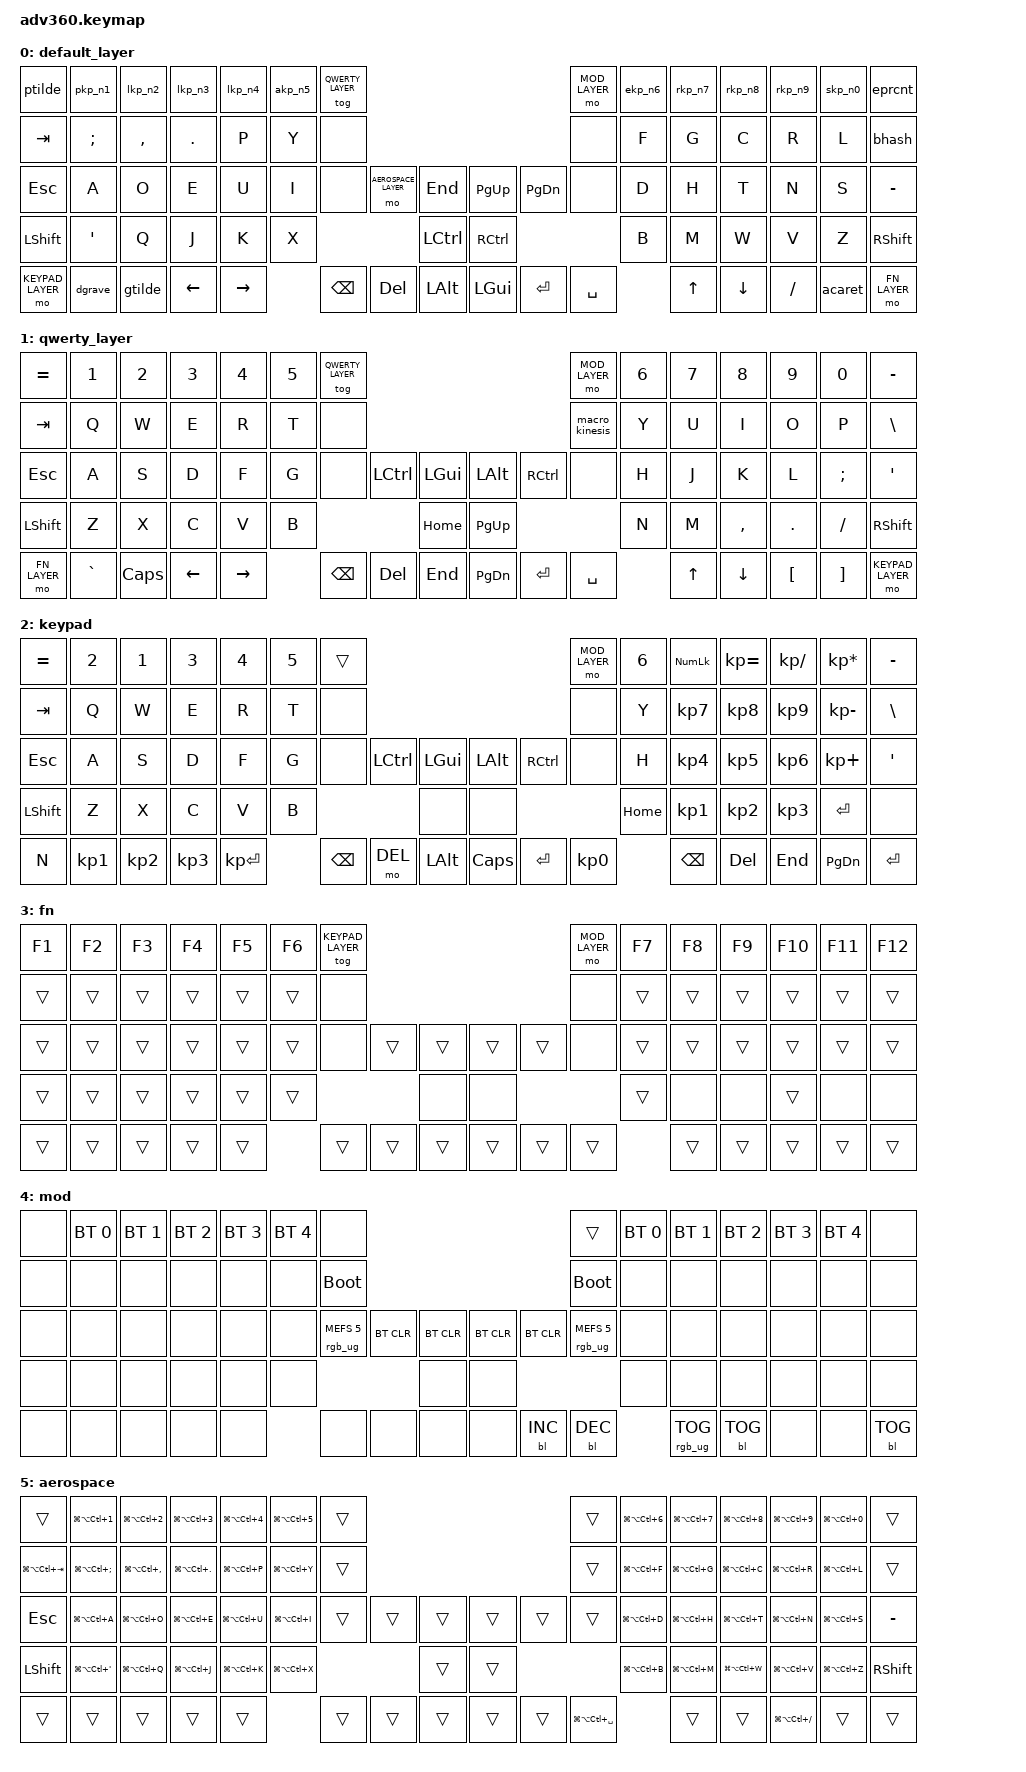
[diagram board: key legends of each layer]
#include <behaviors.dtsi>
#include <dt-bindings/zmk/backlight.h>
#include <dt-bindings/zmk/bt.h>
#include <dt-bindings/zmk/keys.h>
#include <dt-bindings/zmk/rgb.h>

#define DEFAULT_LAYER 0
#define QWERTY_LAYER 1
#define KEYPAD_LAYER 2
#define FN_LAYER 3
#define MOD_LAYER 4
#define AEROSPACE_LAYER 5

/ {
    behaviors {
        #include "macros.dtsi"

        hm: homerow_mods {
            compatible = "zmk,behavior-hold-tap";
            label = "HOMEROW_MODS";
            #binding-cells = <2>;
            tapping-term-ms = <250>;
            quick_tap_ms = <200>;
            flavor = "tap-preferred";
            bindings = <&kp>, <&kp>;
        };

        gpipe: grave_pipe {
            compatible = "zmk,behavior-mod-morph";
            label = "grave_pipe";
            #binding-cells = <0>;
            bindings = <&kp GRAVE>, <&kp PIPE>;

            mods = <(MOD_LSFT|MOD_RSFT)>;
        };


        ptilde: pipe_tilde {
            compatible = "zmk,behavior-mod-morph";
            label = "pipe_tilde";
            #binding-cells = <0>;
            bindings = <&kp PIPE>, <&kp TILDE>;

            mods = <(MOD_LSFT|MOD_RSFT)>;
        };

        ppipe: pipe_pipe {
            compatible = "zmk,behavior-mod-morph";
            label = "pipe_pipe";
            #binding-cells = <0>;
            bindings = <&kp PIPE>, <&kp PIPE>;

            mods = <(MOD_LSFT|MOD_RSFT)>;
        };

        pkp_n1: plus_kp_n1 {
            compatible = "zmk,behavior-mod-morph";
            label = "plus_kp_n1";
            #binding-cells = <0>;
            bindings = <&kp PLUS>, <&kp KP_N1>;

            mods = <(MOD_LSFT|MOD_RSFT)>;
        };

        lkp_n2: left_bracket_kp_n2 {
            compatible = "zmk,behavior-mod-morph";
            label = "left_bracket_kp_n2";
            #binding-cells = <0>;
            bindings = <&kp LEFT_BRACKET>, <&kp KP_N2>;

            mods = <(MOD_LSFT|MOD_RSFT)>;
        };

        lkp_n3: left_brace_kp_n3 {
            compatible = "zmk,behavior-mod-morph";
            label = "left_brace_kp_n3";
            #binding-cells = <0>;
            bindings = <&kp LEFT_BRACE>, <&kp KP_N3>;

            mods = <(MOD_LSFT|MOD_RSFT)>;
        };

        lkp_n4: left_parenthesis_kp_n4 {
            compatible = "zmk,behavior-mod-morph";
            label = "left_parenthesis_kp_n4";
            #binding-cells = <0>;
            bindings = <&kp LEFT_PARENTHESIS>, <&kp KP_N4>;

            mods = <(MOD_LSFT|MOD_RSFT)>;
        };

        akp_n5: amps_kp_n5 {
            compatible = "zmk,behavior-mod-morph";
            label = "amps_kp_n5";
            #binding-cells = <0>;
            bindings = <&kp AMPS>, <&kp KP_N5>;

            mods = <(MOD_LSFT|MOD_RSFT)>;
        };

        ekp_n6: equal_kp_n6 {
            compatible = "zmk,behavior-mod-morph";
            label = "equal_kp_n6";
            #binding-cells = <0>;
            bindings = <&kp EQUAL>, <&kp KP_N6>;

            mods = <(MOD_LSFT|MOD_RSFT)>;
        };

        rkp_n7: right_parenthesis_kp_n7 {
            compatible = "zmk,behavior-mod-morph";
            label = "right_parenthesis_kp_n7";
            #binding-cells = <0>;
            bindings = <&kp RIGHT_PARENTHESIS>, <&kp KP_N7>;

            mods = <(MOD_LSFT|MOD_RSFT)>;
        };

        rkp_n8: right_brace_kp_n8 {
            compatible = "zmk,behavior-mod-morph";
            label = "right_brace_kp_n8";
            #binding-cells = <0>;
            bindings = <&kp RIGHT_BRACE>, <&kp KP_N8>;

            mods = <(MOD_LSFT|MOD_RSFT)>;
        };

        rkp_n9: right_bracket_kp_n9 {
            compatible = "zmk,behavior-mod-morph";
            label = "right_bracket_kp_n9";
            #binding-cells = <0>;
            bindings = <&kp RIGHT_BRACKET>, <&kp KP_N9>;

            mods = <(MOD_LSFT|MOD_RSFT)>;
        };

        skp_n0: star_kp_n0 {
            compatible = "zmk,behavior-mod-morph";
            label = "star_kp_n0";
            #binding-cells = <0>;
            bindings = <&kp STAR>, <&kp KP_N0>;

            mods = <(MOD_LSFT|MOD_RSFT)>;
        };

        eprcnt: excl_prcnt {
            compatible = "zmk,behavior-mod-morph";
            label = "excl_prcnt";
            #binding-cells = <0>;
            bindings = <&kp EXCL>, <&kp PRCNT>;

            mods = <(MOD_LSFT|MOD_RSFT)>;
        };

        dgrave: dllr_grave {
            compatible = "zmk,behavior-mod-morph";
            label = "dllr_grave";
            #binding-cells = <0>;
            bindings = <&kp DLLR>, <&kp GRAVE>;

            mods = <(MOD_LSFT|MOD_RSFT)>;
        };

        ggrave: grave_grave {
            compatible = "zmk,behavior-mod-morph";
            label = "grave_grave";
            #binding-cells = <0>;
            bindings = <&kp GRAVE>, <&kp GRAVE>;

            mods = <(MOD_LSFT|MOD_RSFT)>;
        };

        gtilde: grave_tilde {
            compatible = "zmk,behavior-mod-morph";
            label = "grave_tilde";
            #binding-cells = <0>;
            bindings = <&kp GRAVE>, <&kp TILDE>;
            mods = <(MOD_LSFT|MOD_RSFT)>;
        };

        bhash: bslh_hash {
            compatible = "zmk,behavior-mod-morph";
            label = "bslh_hash";
            #binding-cells = <0>;
            bindings = <&kp BSLH>, <&kp HASH>;

            mods = <(MOD_LSFT|MOD_RSFT)>;
        };

        acaret: at_caret {
            compatible = "zmk,behavior-mod-morph";
            label = "at_caret";
            #binding-cells = <0>;
            bindings = <&kp AT>, <&kp CARET>;

            mods = <(MOD_LSFT|MOD_RSFT)>;
        };
    };

    keymap {
        compatible = "zmk,keymap";

        default_layer {
            bindings = <
//    ┌───────────────────┬─────────┬─────────┬─────────┬─────────┬─────────┬────────────────────┐                                         ┌────────────────┬─────────┬─────────┬─────────┬─────────┬─────────┬───────────────┐
//    │      &ptilde      │ &pkp_n1 │ &lkp_n2 │ &lkp_n3 │ &lkp_n4 │ &akp_n5 │ TOG QWERTY_laltYER │                                         │ MO MOD_laltYER │ &ekp_n6 │ &rkp_n7 │ &rkp_n8 │ &rkp_n9 │ &skp_n0 │    &eprcnt    │
//    ├───────────────────┼─────────┼─────────┼─────────┼─────────┼─────────┼────────────────────┤                                         ├────────────────┼─────────┼─────────┼─────────┼─────────┼─────────┼───────────────┤
//    │        tab        │    ;    │    ,    │    .    │    P    │    Y    │                    │                                         │                │    F    │    G    │    C    │    R    │    L    │    &bhash     │
//    ├───────────────────┼─────────┼─────────┼─────────┼─────────┼─────────┼────────────────────┼────────────────────┬──────┬──────┬──────┼────────────────┼─────────┼─────────┼─────────┼─────────┼─────────┼───────────────┤
//    │        esc        │    A    │    O    │    E    │    U    │    I    │                    │ MO AEROspc_laltYER │ end  │ pgup │ pgdn │                │    D    │    H    │    T    │    N    │    S    │       -       │
//    ├───────────────────┼─────────┼─────────┼─────────┼─────────┼─────────┼────────────────────┴────────────────────┼──────┼──────┼──────┴────────────────┼─────────┼─────────┼─────────┼─────────┼─────────┼───────────────┤
//    │       lsft        │    '    │    Q    │    J    │    K    │    X    │                                         │ lctl │ rctl │                       │    B    │    M    │    W    │    V    │    Z    │     rsft      │
//    ├───────────────────┼─────────┼─────────┼─────────┼─────────┼─────────┼────────────────────┬────────────────────┼──────┼──────┼──────┬────────────────┼─────────┼─────────┼─────────┼─────────┼─────────┼───────────────┤
//    │ MO KEYPAD_laltYER │ &dgrave │ &gtilde │  left   │  rght   │         │        BKSP        │        del         │ lalt │ lgui │ ent  │      spc       │         │   up    │  down   │    /    │ &acaret │ MO FN_laltYER │
//    └───────────────────┴─────────┴─────────┴─────────┴─────────┘         └────────────────────┴────────────────────┴──────┴──────┴──────┴────────────────┘         └─────────┴─────────┴─────────┴─────────┴───────────────┘
  &ptilde            &pkp_n1    &lkp_n2     &lkp_n3    &lkp_n4     &akp_n5   &tog QWERTY_LAYER                                                             &mo MOD_LAYER   &ekp_n6   &rkp_n7   &rkp_n8    &rkp_n9    &skp_n0   &eprcnt
  &kp TAB            &kp SEMI   &kp COMMA   &kp DOT    &kp P       &kp Y     &none                                                                         &none           &kp F     &kp G     &kp C      &kp R      &kp L     &bhash
  &kp ESC            &kp A      &kp O       &kp E      &kp U       &kp I     &none               &mo AEROSPACE_LAYER   &kp END     &kp PG_UP   &kp PG_DN   &none           &kp D     &kp H     &kp T      &kp N      &kp S     &kp MINUS
  &kp LSHFT          &kp APOS   &kp Q       &kp J      &kp K       &kp X                                               &kp LCTRL   &kp RCTRL                               &kp B     &kp M     &kp W      &kp V      &kp Z     &kp RSHFT
  &mo KEYPAD_LAYER   &dgrave    &gtilde     &kp LEFT   &kp RIGHT             &kp BKSP            &kp DEL               &kp LALT    &kp LGUI    &kp ENTER   &kp SPACE                 &kp UP    &kp DOWN   &kp FSLH   &acaret   &mo FN_LAYER
            >;
        };

        qwerty_layer {
            bindings = <
//    ┌───────────────┬───┬──────┬──────┬──────┬───┬────────────────────┐                           ┌────────────────┬───┬────┬──────┬───┬───┬───────────────────┐
//    │       =       │ 1 │  2   │  3   │  4   │ 5 │ TOG QWERTY_laltYER │                           │ MO MOD_laltYER │ 6 │ 7  │  8   │ 9 │ 0 │         -         │
//    ├───────────────┼───┼──────┼──────┼──────┼───┼────────────────────┤                           ├────────────────┼───┼────┼──────┼───┼───┼───────────────────┤
//    │      tab      │ Q │  W   │  E   │  R   │ T │                    │                           │ &macro_kinesis │ Y │ U  │  I   │ O │ P │         \         │
//    ├───────────────┼───┼──────┼──────┼──────┼───┼────────────────────┼──────┬──────┬──────┬──────┼────────────────┼───┼────┼──────┼───┼───┼───────────────────┤
//    │      esc      │ A │  S   │  D   │  F   │ G │                    │ lctl │ lgui │ lalt │ rctl │                │ H │ J  │  K   │ L │ ; │         '         │
//    ├───────────────┼───┼──────┼──────┼──────┼───┼────────────────────┴──────┼──────┼──────┼──────┴────────────────┼───┼────┼──────┼───┼───┼───────────────────┤
//    │     lsft      │ Z │  X   │  C   │  V   │ B │                           │ home │ pgup │                       │ N │ M  │  ,   │ . │ / │       rsft        │
//    ├───────────────┼───┼──────┼──────┼──────┼───┼────────────────────┬──────┼──────┼──────┼──────┬────────────────┼───┼────┼──────┼───┼───┼───────────────────┤
//    │ MO FN_laltYER │ ` │ caps │ left │ rght │   │        BKSP        │ del  │ end  │ pgdn │ ent  │      spc       │   │ up │ down │ [ │ ] │ MO KEYPAD_laltYER │
//    └───────────────┴───┴──────┴──────┴──────┘   └────────────────────┴──────┴──────┴──────┴──────┴────────────────┘   └────┴──────┴───┴───┴───────────────────┘
  &kp EQUAL      &kp N1      &kp N2     &kp N3     &kp N4      &kp N5   &tog QWERTY_LAYER                                                         &mo MOD_LAYER    &kp N6   &kp N7   &kp N8      &kp N9     &kp N0     &kp MINUS
  &kp TAB        &kp Q       &kp W      &kp E      &kp R       &kp T    &none                                                                     &macro_kinesis   &kp Y    &kp U    &kp I       &kp O      &kp P      &kp BSLH
  &kp ESC        &kp A       &kp S      &kp D      &kp F       &kp G    &none               &kp LCTRL   &kp LEFT_GUI   &kp LEFT_ALT   &kp RCTRL   &none            &kp H    &kp J    &kp K       &kp L      &kp SEMI   &kp SQT
  &kp LSHFT      &kp Z       &kp X      &kp C      &kp V       &kp B                                    &kp HOME       &kp PG_UP                                   &kp N    &kp M    &kp COMMA   &kp DOT    &kp FSLH   &kp RSHFT
  &mo FN_LAYER   &kp GRAVE   &kp CAPS   &kp LEFT   &kp RIGHT            &kp BKSP            &kp DEL     &kp END        &kp PG_DN      &kp ENTER   &kp SPACE                 &kp UP   &kp DOWN    &kp LBKT   &kp RBKT   &mo KEYPAD_LAYER
            >;
        };

        keypad {
            bindings = <
//    ┌──────┬───┬───┬───┬─────┬───┬──────┐                             ┌────────────────┬──────┬──────┬──────┬──────┬──────┬─────┐
//    │  =   │ 2 │ 1 │ 3 │  4  │ 5 │      │                             │ MO MOD_laltYER │  6   │ nlck │ kp_= │ kp_/ │ kp_* │  -  │
//    ├──────┼───┼───┼───┼─────┼───┼──────┤                             ├────────────────┼──────┼──────┼──────┼──────┼──────┼─────┤
//    │ tab  │ Q │ W │ E │  R  │ T │      │                             │                │  Y   │  7   │  8   │  9   │ kp_- │  \  │
//    ├──────┼───┼───┼───┼─────┼───┼──────┼────────┬──────┬──────┬──────┼────────────────┼──────┼──────┼──────┼──────┼──────┼─────┤
//    │ esc  │ A │ S │ D │  F  │ G │      │  lctl  │ lgui │ lalt │ rctl │                │  H   │  4   │  5   │  6   │ kp_+ │  '  │
//    ├──────┼───┼───┼───┼─────┼───┼──────┴────────┼──────┼──────┼──────┴────────────────┼──────┼──────┼──────┼──────┼──────┼─────┤
//    │ lsft │ Z │ X │ C │  V  │ B │               │      │      │                       │ home │  1   │  2   │  3   │ ent  │     │
//    ├──────┼───┼───┼───┼─────┼───┼──────┬────────┼──────┼──────┼──────┬────────────────┼──────┼──────┼──────┼──────┼──────┼─────┤
//    │  N   │ 1 │ 2 │ 3 │ ent │   │ BKSP │ MO del │ lalt │ caps │ ent  │       0        │      │ BKSP │ del  │ end  │ pgdn │ ent │
//    └──────┴───┴───┴───┴─────┘   └──────┴────────┴──────┴──────┴──────┴────────────────┘      └──────┴──────┴──────┴──────┴─────┘
  &kp EQUAL   &kp N2      &kp N1      &kp N3      &kp N4         &kp N5   &trans                                                           &mo MOD_LAYER   &kp N6     &kp KP_NUM   &kp KP_EQUAL   &kp KP_DIVIDE   &kp KP_MULTIPLY   &kp MINUS
  &kp TAB     &kp Q       &kp W       &kp E       &kp R          &kp T    &none                                                            &none           &kp Y      &kp KP_N7    &kp KP_N8      &kp KP_N9       &kp KP_MINUS      &kp BSLH
  &kp ESC     &kp A       &kp S       &kp D       &kp F          &kp G    &none      &kp LCTRL   &kp LEFT_GUI   &kp LEFT_ALT   &kp RCTRL   &none           &kp H      &kp KP_N4    &kp KP_N5      &kp KP_N6       &kp KP_PLUS       &kp SQT
  &kp LSHFT   &kp Z       &kp X       &kp C       &kp V          &kp B                           &none          &none                                      &kp HOME   &kp KP_N1    &kp KP_N2      &kp KP_N3       &kp ENTER         &none
  &kp N       &kp KP_N1   &kp KP_N2   &kp KP_N3   &kp KP_ENTER            &kp BKSP   &mo DEL     &kp LALT       &kp CAPS       &kp ENTER   &kp KP_N0                  &kp BKSP     &kp DEL        &kp END         &kp PG_DN         &kp ENTER
            >;
        };

        fn {
            bindings = <
//    ┌─────┬─────┬─────┬─────┬─────┬─────┬────────────────────┐                       ┌────────────────┬─────┬─────┬─────┬─────┬─────┬─────┐
//    │ f1  │ f2  │ f3  │ f4  │ f5  │ f6  │ TOG KEYPAD_laltYER │                       │ MO MOD_laltYER │ f7  │ f8  │ f9  │ f10 │ f11 │ f12 │
//    ├─────┼─────┼─────┼─────┼─────┼─────┼────────────────────┤                       ├────────────────┼─────┼─────┼─────┼─────┼─────┼─────┤
//    │     │     │     │     │     │     │                    │                       │                │     │     │     │     │     │     │
//    ├─────┼─────┼─────┼─────┼─────┼─────┼────────────────────┼─────┬─────┬─────┬─────┼────────────────┼─────┼─────┼─────┼─────┼─────┼─────┤
//    │     │     │     │     │     │     │                    │     │     │     │     │                │     │     │     │     │     │     │
//    ├─────┼─────┼─────┼─────┼─────┼─────┼────────────────────┴─────┼─────┼─────┼─────┴────────────────┼─────┼─────┼─────┼─────┼─────┼─────┤
//    │     │     │     │     │     │     │                          │     │     │                      │     │     │     │     │     │     │
//    ├─────┼─────┼─────┼─────┼─────┼─────┼────────────────────┬─────┼─────┼─────┼─────┬────────────────┼─────┼─────┼─────┼─────┼─────┼─────┤
//    │     │     │     │     │     │     │                    │     │     │     │     │                │     │     │     │     │     │     │
//    └─────┴─────┴─────┴─────┴─────┘     └────────────────────┴─────┴─────┴─────┴─────┴────────────────┘     └─────┴─────┴─────┴─────┴─────┘
  &kp F1   &kp F2   &kp F3   &kp F4   &kp F5   &kp F6   &tog KEYPAD_LAYER                                       &mo MOD_LAYER   &kp F7   &kp F8   &kp F9   &kp F10   &kp F11   &kp F12
  &trans   &trans   &trans   &trans   &trans   &trans   &none                                                   &none           &trans   &trans   &trans   &trans    &trans    &trans
  &trans   &trans   &trans   &trans   &trans   &trans   &none               &trans   &trans   &trans   &trans   &none           &trans   &trans   &trans   &trans    &trans    &trans
  &trans   &trans   &trans   &trans   &trans   &trans                                &none    &none                             &trans   &none    &none    &trans    &none     &none
  &trans   &trans   &trans   &trans   &trans            &trans              &trans   &trans   &trans   &trans   &trans                   &trans   &trans   &trans    &trans    &trans
            >;
        };

        mod {
            bindings = <
//    ┌─────┬──────────┬──────────┬──────────┬──────────┬──────────┬──────────────────────┐                                    ┌──────────────────────┬──────────┬──────────┬──────────┬──────────┬──────────┬─────────┐
//    │     │ bt_sel 0 │ bt_sel 1 │ bt_sel 2 │ bt_sel 3 │ bt_sel 4 │                      │                                    │                      │ bt_sel 0 │ bt_sel 1 │ bt_sel 2 │ bt_sel 3 │ bt_sel 4 │         │
//    ├─────┼──────────┼──────────┼──────────┼──────────┼──────────┼──────────────────────┤                                    ├──────────────────────┼──────────┼──────────┼──────────┼──────────┼──────────┼─────────┤
//    │     │          │          │          │          │          │         boot         │                                    │         boot         │          │          │          │          │          │         │
//    ├─────┼──────────┼──────────┼──────────┼──────────┼──────────┼──────────────────────┼────────┬────────┬────────┬─────────┼──────────────────────┼──────────┼──────────┼──────────┼──────────┼──────────┼─────────┤
//    │     │          │          │          │          │          │ ug_ rguiB_MEFS_CMD 5 │ bt_clr │ bt_clr │ bt_clr │ bt_clr  │ ug_ rguiB_MEFS_CMD 5 │          │          │          │          │          │         │
//    ├─────┼──────────┼──────────┼──────────┼──────────┼──────────┼──────────────────────┴────────┼────────┼────────┼─────────┴──────────────────────┼──────────┼──────────┼──────────┼──────────┼──────────┼─────────┤
//    │     │          │          │          │          │          │                               │        │        │                                │          │          │          │          │          │         │
//    ├─────┼──────────┼──────────┼──────────┼──────────┼──────────┼──────────────────────┬────────┼────────┼────────┼─────────┬──────────────────────┼──────────┼──────────┼──────────┼──────────┼──────────┼─────────┤
//    │     │          │          │          │          │          │                      │        │        │        │ bl_ br+ │       bl_ br-        │          │ ug_ tog  │ bl_ tog  │          │          │ bl_ tog │
//    └─────┴──────────┴──────────┴──────────┴──────────┘          └──────────────────────┴────────┴────────┴────────┴─────────┴──────────────────────┘          └──────────┴──────────┴──────────┴──────────┴─────────┘
  &none   &bt BT_SEL 0   &bt BT_SEL 1   &bt BT_SEL 2   &bt BT_SEL 3   &bt BT_SEL 4   &none                                                                        &trans                   &bt BT_SEL 0   &bt BT_SEL 1      &bt BT_SEL 2   &bt BT_SEL 3   &bt BT_SEL 4   &none
  &none   &none          &none          &none          &none          &none          &bootloader                                                                  &bootloader              &none          &none             &none          &none          &none          &none
  &none   &none          &none          &none          &none          &none          &rgb_ug RGB_MEFS_CMD 5   &bt BT_CLR   &bt BT_CLR   &bt BT_CLR   &bt BT_CLR   &rgb_ug RGB_MEFS_CMD 5   &none          &none             &none          &none          &none          &none
  &none   &none          &none          &none          &none          &none                                                &none        &none                                              &none          &none             &none          &none          &none          &none
  &none   &none          &none          &none          &none                         &none                    &none        &none        &none        &bl BL_INC   &bl BL_DEC                              &rgb_ug RGB_TOG   &bl BL_TOG     &none          &none          &bl BL_TOG
            >;
        };

        aerospace {
            bindings = <
//    ┌───────────────────────┬─────────────────────┬─────────────────────┬─────────────────────┬─────────────────────┬─────────────────────┬─────┐                       ┌───────────────────────┬─────────────────────┬─────────────────────┬─────────────────────┬─────────────────────┬─────────────────────┬──────┐
//    │                       │ lgui(lalt(lctl(1))) │ lgui(lalt(lctl(2))) │ lgui(lalt(lctl(3))) │ lgui(lalt(lctl(4))) │ lgui(lalt(lctl(5))) │     │                       │                       │ lgui(lalt(lctl(6))) │ lgui(lalt(lctl(7))) │ lgui(lalt(lctl(8))) │ lgui(lalt(lctl(9))) │ lgui(lalt(lctl(0))) │      │
//    ├───────────────────────┼─────────────────────┼─────────────────────┼─────────────────────┼─────────────────────┼─────────────────────┼─────┤                       ├───────────────────────┼─────────────────────┼─────────────────────┼─────────────────────┼─────────────────────┼─────────────────────┼──────┤
//    │ lgui(lalt(lctl(tab))) │ lgui(lalt(lctl(;))) │ lgui(lalt(lctl(,))) │ lgui(lalt(lctl(.))) │ lgui(lalt(lctl(P))) │ lgui(lalt(lctl(Y))) │     │                       │                       │ lgui(lalt(lctl(F))) │ lgui(lalt(lctl(G))) │ lgui(lalt(lctl(C))) │ lgui(lalt(lctl(R))) │ lgui(lalt(lctl(L))) │      │
//    ├───────────────────────┼─────────────────────┼─────────────────────┼─────────────────────┼─────────────────────┼─────────────────────┼─────┼─────┬─────┬─────┬─────┼───────────────────────┼─────────────────────┼─────────────────────┼─────────────────────┼─────────────────────┼─────────────────────┼──────┤
//    │          esc          │ lgui(lalt(lctl(A))) │ lgui(lalt(lctl(O))) │ lgui(lalt(lctl(E))) │ lgui(lalt(lctl(U))) │ lgui(lalt(lctl(I))) │     │     │     │     │     │                       │ lgui(lalt(lctl(D))) │ lgui(lalt(lctl(H))) │ lgui(lalt(lctl(T))) │ lgui(lalt(lctl(N))) │ lgui(lalt(lctl(S))) │  -   │
//    ├───────────────────────┼─────────────────────┼─────────────────────┼─────────────────────┼─────────────────────┼─────────────────────┼─────┴─────┼─────┼─────┼─────┴───────────────────────┼─────────────────────┼─────────────────────┼─────────────────────┼─────────────────────┼─────────────────────┼──────┤
//    │         lsft          │ lgui(lalt(lctl('))) │ lgui(lalt(lctl(Q))) │ lgui(lalt(lctl(J))) │ lgui(lalt(lctl(K))) │ lgui(lalt(lctl(X))) │           │     │     │                             │ lgui(lalt(lctl(B))) │ lgui(lalt(lctl(M))) │ lgui(lalt(lctl(W))) │ lgui(lalt(lctl(V))) │ lgui(lalt(lctl(Z))) │ rsft │
//    ├───────────────────────┼─────────────────────┼─────────────────────┼─────────────────────┼─────────────────────┼─────────────────────┼─────┬─────┼─────┼─────┼─────┬───────────────────────┼─────────────────────┼─────────────────────┼─────────────────────┼─────────────────────┼─────────────────────┼──────┤
//    │                       │                     │                     │                     │                     │                     │     │     │     │     │     │ lgui(lalt(lctl(spc))) │                     │                     │                     │ lgui(lalt(lctl(/))) │                     │      │
//    └───────────────────────┴─────────────────────┴─────────────────────┴─────────────────────┴─────────────────────┘                     └─────┴─────┴─────┴─────┴─────┴───────────────────────┘                     └─────────────────────┴─────────────────────┴─────────────────────┴─────────────────────┴──────┘
  &trans                &kp LG(LA(LC(N1)))     &kp LG(LA(LC(N2)))      &kp LG(LA(LC(N3)))    &kp LG(LA(LC(N4)))   &kp LG(LA(LC(N5)))   &trans                                       &trans                  &kp LG(LA(LC(N6)))   &kp LG(LA(LC(N7)))   &kp LG(LA(LC(N8)))   &kp LG(LA(LC(N9)))     &kp LG(LA(LC(N0)))   &trans
  &kp LG(LA(LC(TAB)))   &kp LG(LA(LC(SEMI)))   &kp LG(LA(LC(COMMA)))   &kp LG(LA(LC(DOT)))   &kp LG(LA(LC(P)))    &kp LG(LA(LC(Y)))    &trans                                       &trans                  &kp LG(LA(LC(F)))    &kp LG(LA(LC(G)))    &kp LG(LA(LC(C)))    &kp LG(LA(LC(R)))      &kp LG(LA(LC(L)))    &trans
  &kp ESC               &kp LG(LA(LC(A)))      &kp LG(LA(LC(O)))       &kp LG(LA(LC(E)))     &kp LG(LA(LC(U)))    &kp LG(LA(LC(I)))    &trans   &trans   &trans   &trans   &trans   &trans                  &kp LG(LA(LC(D)))    &kp LG(LA(LC(H)))    &kp LG(LA(LC(T)))    &kp LG(LA(LC(N)))      &kp LG(LA(LC(S)))    &kp MINUS
  &kp LSHFT             &kp LG(LA(LC(SQT)))    &kp LG(LA(LC(Q)))       &kp LG(LA(LC(J)))     &kp LG(LA(LC(K)))    &kp LG(LA(LC(X)))                      &trans   &trans                                    &kp LG(LA(LC(B)))    &kp LG(LA(LC(M)))    &kp LG(LA(LC(W)))    &kp LG(LA(LC(V)))      &kp LG(LA(LC(Z)))    &kp RSHFT
  &trans                &trans                 &trans                  &trans                &trans                                    &trans   &trans   &trans   &trans   &trans   &kp LG(LA(LC(SPACE)))                        &trans               &trans               &kp LG(LA(LC(FSLH)))   &trans               &trans
            >;
        };


    };

};
